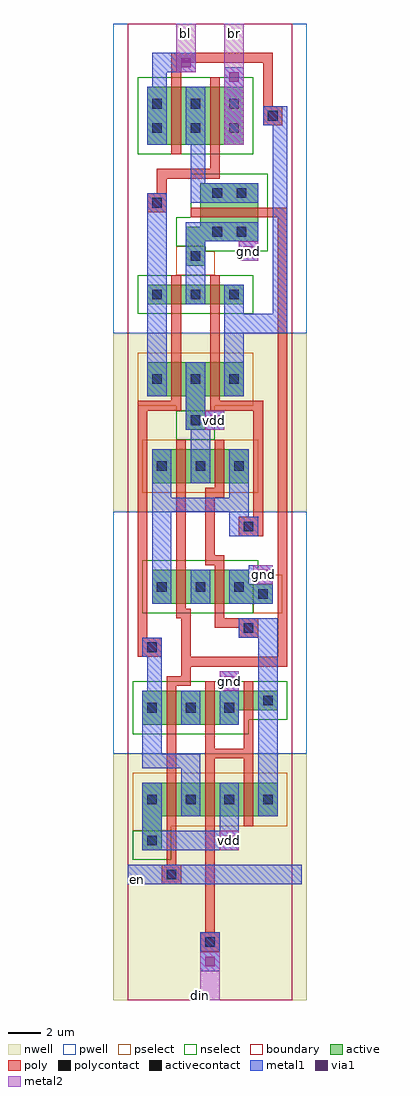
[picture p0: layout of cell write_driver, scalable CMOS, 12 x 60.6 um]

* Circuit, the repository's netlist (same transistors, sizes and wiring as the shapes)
*********************** Write_Driver ******************************
.SUBCKT write_driver din bl br en vdd gnd

**** Inverter to conver Data_in to data_in_bar ******
* din_bar = inv(din)
M_1 din_bar din gnd gnd n W=1.2u L=0.6u
M_2 din_bar din vdd vdd p W=2.1u L=0.6u

**** 2input nand gate follwed by inverter to drive BL ******
* din_bar_gated = nand(en, din)
M_3 din_bar_gated en net_7 gnd n W=2.1u L=0.6u 
M_4 net_7 din gnd gnd n W=2.1u L=0.6u 
M_5 din_bar_gated en vdd vdd p W=2.1u L=0.6u 
M_6 din_bar_gated din vdd vdd p W=2.1u L=0.6u 
* din_bar_gated_bar = inv(din_bar_gated)
M_7 din_bar_gated_bar din_bar_gated vdd vdd p W=2.1u L=0.6u 
M_8 din_bar_gated_bar din_bar_gated gnd gnd n W=1.2u L=0.6u 

**** 2input nand gate follwed by inverter to drive BR******
* din_gated = nand(en, din_bar)
M_9 din_gated en vdd vdd p W=2.1u L=0.6u
M_10 din_gated en net_8 gnd n W=2.1u L=0.6u  
M_11 net_8 din_bar gnd gnd n W=2.1u L=0.6u
M_12 din_gated din_bar vdd vdd p W=2.1u L=0.6u 
* din_gated_bar = inv(din_gated)
M_13 din_gated_bar din_gated vdd vdd p W=2.1u L=0.6u 
M_14 din_gated_bar din_gated gnd gnd n W=1.2u L=0.6u

************************************************
* pull down with en enable
M_15 bl din_gated_bar net_5 gnd n W=3.6u L=0.6u 
M_16 br din_bar_gated_bar net_5 gnd n W=3.6u L=0.6u 
M_17 net_5 en gnd gnd n W=3.6u L=0.6u 



.ENDS	$ write_driver

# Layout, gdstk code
import gdstk
lib = gdstk.Library(unit=1e-6, precision=1e-09)
def R(c, l, rs):  # rectangles x0, y0, x1, y1
    for r in rs: c.add(gdstk.rectangle(r[:2], r[2:], *l))
def A(c, l, x, y, w, h, nx, ny, dx, dy):  # array of equal rectangles
    R(c, l, [(x+i*dx, y+j*dy, x+i*dx+w, y+j*dy+h) for i in range(nx) for j in range(ny)])
pwell = (41, 0)
nwell = (42, 0)
active = (43, 0)
pselect = (44, 0)
nselect = (45, 0)
poly = (46, 0)
polycontact = (47, 0)
activecontact = (48, 0)
metal1 = (49, 0)
via1 = (50, 0)
metal2 = (51, 0)
boundary = (63, 0)

write_driver = lib.new_cell('write_driver')
R(write_driver, pwell, [(-0.9,15.3,11.1,30.3), (-0.9,41.4,11.1,60.6)])
R(write_driver, nwell, [(-0.9,0,11.1,15.3), (-0.9,30.3,11.1,41.4)])
R(write_driver, active, [(0.9,9.3,2.1,11.4), (0.9,11.4,9.3,13.5), (0.9,17.1,6.9,18), (0.9,18,9.3,19.2), (1.5,24.6,9,25.8), (1.5,25.8,7.5,26.7), (1.5,32.1,7.5,34.2), (3.6,35.4,4.8,37.5), (1.2,37.5,7.2,39.6), (1.2,43.2,7.2,44.4), (3.6,45.6,4.8,47.1), (3.6,47.1,8.1,48), (4.5,48,8.1,50.7), (1.2,53.1,7.2,56.7)])
R(write_driver, pselect, [(0.3,10.5,2.7,10.8), (0.3,10.8,9.9,14.1), (7.8,24,9.6,25.8), (8.1,25.8,9.6,26.4), (0.9,31.5,8.1,34.8), (3,36.6,5.4,36.9), (0.6,36.9,7.8,40.2), (3,45,5.4,46.5), (3,46.5,4.8,46.8)])
R(write_driver, nselect, [(0.3,8.7,2.7,10.5), (0.3,16.5,7.5,17.4), (0.3,17.4,9.9,19.8), (0.9,24,7.8,25.8), (0.9,25.8,8.1,27.3), (3,34.8,5.4,36.6), (0.6,42.6,7.8,45), (4.8,46.5,8.7,46.8), (3,46.8,8.7,48.6), (3.9,48.6,8.7,51.3), (0.6,52.5,7.8,57.3)])
R(write_driver, poly, [(4.5,3,5.7,4.2), (4.8,4.2,5.4,15), (2.1,7.2,3.3,8.4), (2.4,8.4,3,19.5), (7.2,10.8,7.8,15), (4.8,15,7.8,15.6), (4.8,15.6,5.4,19.8), (7.2,15.6,7.8,19.8), (2.4,19.5,3.9,20.1), (3.3,20.1,3.9,20.7), (3.3,20.7,9.9,21.3), (0.6,21.3,2.1,22.5), (3.3,21.3,3.9,23.7), (9.3,21.3,9.9,48.6), (0.6,22.5,1.2,36.6), (6.9,22.5,8.1,23.1), (5.4,23.1,8.1,23.7), (3,23.7,3.9,24.3), (5.4,23.7,6,27), (3,24.3,3.6,34.8), (4.8,27,6,27.6), (4.8,27.6,5.4,31.2), (6.9,28.8,8.4,30), (7.8,30,8.4,36.6), (4.8,31.2,6,31.8), (5.4,31.8,6,34.8), (0.6,36.6,3.3,37.2), (5.1,36.6,8.4,37.2), (2.7,37.2,3.3,45), (5.1,37.2,5.7,45), (3.9,48.6,9.9,49.2), (1.2,48.9,2.4,50.1), (1.8,50.1,2.4,51), (1.8,51,5.7,51.6), (5.1,51.6,5.7,57.3), (2.7,52.5,3.3,58.2), (8.4,54.3,9.6,55.5), (8.4,55.5,9,58.2), (2.7,58.2,9,58.8)])
R(write_driver, polycontact, [(4.8,3.3,5.4,3.9), (2.4,7.5,3,8.1), (1.2,21.6,1.8,22.2), (7.2,22.8,7.8,23.4), (7.2,29.1,7.8,29.7), (1.5,49.2,2.1,49.8), (8.7,54.6,9.3,55.2)])
A(write_driver, activecontact, 1.2, 12.15, 0.6, 0.6, 4, 1, 2.4, 0)
A(write_driver, activecontact, 1.2, 17.85, 0.6, 0.6, 3, 1, 2.4, 0)
A(write_driver, activecontact, 1.8, 25.35, 0.6, 0.6, 3, 2, 2.4, 7.5)
A(write_driver, activecontact, 1.5, 38.25, 0.6, 0.6, 3, 2, 2.4, 5.25)
A(write_driver, activecontact, 1.5, 53.85, 0.6, 0.6, 3, 2, 2.4, 1.5)
R(write_driver, activecontact, [(1.2,9.6,1.8,10.2), (8.4,18.3,9,18.9), (8.1,24.9,8.7,25.5), (3.9,35.7,4.5,36.3), (3.9,45.9,4.5,46.5), (5.25,47.4,5.85,48), (6.75,47.4,7.35,48), (5.25,49.8,5.85,50.4), (6.75,49.8,7.35,50.4)])
R(write_driver, metal1, [(4.5,1.8,5.7,4.2), (0,7.2,10.8,8.4), (0.9,9.3,6.9,10.5), (0.9,10.5,2.1,13.5), (5.7,10.5,6.9,13.5), (3.3,11.4,4.5,14.4), (8.1,11.4,9.3,22.5), (0.9,14.4,4.5,15.3), (0.9,15.3,2.1,19.2), (3.3,17.1,4.5,19.2), (5.7,17.1,6.9,20.4), (1.2,19.2,2.1,21.3), (0.9,21.3,2.1,22.5), (6.9,22.5,9.3,23.7), (1.5,24.6,2.7,30.3), (3.9,24.6,5.1,26.7), (6.3,24.6,9,26.7), (7.5,26.7,9,27), (6.3,28.8,8.1,30), (6.3,30,7.5,30.3), (1.5,30.3,7.5,31.2), (1.5,31.2,2.7,34.2), (6.3,31.2,7.5,34.2), (3.9,32.1,5.1,35.4), (3.6,35.4,6,36.6), (3.6,36.6,4.8,39.6), (1.2,37.5,2.4,50.1), (6,37.5,7.2,41.4), (6,41.4,9.9,42.6), (6,42.6,7.2,44.4), (9,42.6,9.9,54.3), (3.6,43.2,4.8,47.1), (6.9,45.9,8.1,47.1), (3.6,47.1,8.1,48.3), (3.9,49.5,8.1,50.7), (3.9,50.7,4.8,53.1), (1.2,53.1,2.4,56.7), (3.6,53.1,4.8,56.7), (6,53.1,7.2,57.9), (8.4,54.3,9.9,55.5), (1.5,56.7,2.4,57.6), (1.5,57.6,4.2,58.8)])
R(write_driver, via1, [(4.8,2.1,5.4,2.7), (6,9.6,6.6,10.2), (6,19.5,6.6,20.1), (8.1,26.1,8.7,26.7), (5.1,35.7,5.7,36.3), (7.2,46.2,7.8,46.8), (6.3,57,6.9,57.6), (3.3,57.9,3.9,58.5)])
R(write_driver, metal2, [(4.5,0,5.7,3), (5.7,9.3,6.9,10.5), (5.7,19.2,6.9,20.4), (7.8,25.8,9,27), (4.8,35.4,6,36.6), (6.9,45.9,8.1,47.1), (6,53.1,7.2,60.6), (3,57.6,4.2,60.6)])
R(write_driver, boundary, [(0,0,10.2,60.6)])
write_driver.add(gdstk.Label('din', (4.5,0.3), layer=51, texttype=0))
write_driver.add(gdstk.Label('en', (0.6,7.5), layer=49, texttype=0))
write_driver.add(gdstk.Label('bl', (3.6,60), layer=51, texttype=0))
write_driver.add(gdstk.Label('br', (6.6,60), layer=51, texttype=0))
write_driver.add(gdstk.Label('gnd', (6.3,19.8), layer=51, texttype=0))
write_driver.add(gdstk.Label('gnd', (8.4,26.4), layer=51, texttype=0))
write_driver.add(gdstk.Label('vdd', (6.3,9.9), layer=51, texttype=0))
write_driver.add(gdstk.Label('vdd', (5.4,36), layer=51, texttype=0))
write_driver.add(gdstk.Label('gnd', (7.5,46.5), layer=51, texttype=0))

lib.write_gds('write_driver.gds')
